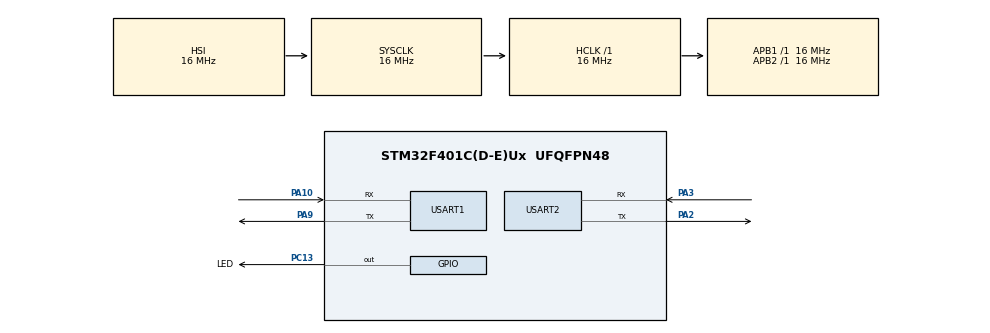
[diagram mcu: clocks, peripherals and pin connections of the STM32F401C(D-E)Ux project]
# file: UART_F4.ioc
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FREERTOS.Events01=COM6_cplt,Dynamic,NULL;COM7_cplt,Dynamic,NULL
FREERTOS.Queues01=dbg_info,128,uint8_t,0,Static,dbg_infoBuffer,dbg_infoControlBlock;slave_info,128,uint8_t,0,Static,slave_infoBuffer,slave_infoControlBlock
FREERTOS.Tasks01=dbg_UART_task,24,128,Start_dbg_UART_task,Default,NULL,Dynamic,NULL,NULL;slave_UART_task,8,128,Start_slave_UART_task,Default,NULL,Dynamic,NULL,NULL
Mcu.Family=STM32F4
Mcu.Name=STM32F401C(D-E)Ux
Mcu.Package=UFQFPN48
NVIC.PriorityGroup=NVIC_PRIORITYGROUP_4
NVIC.TIM1_UP_TIM10_IRQn=true\:15\:0\:false\:false\:true\:false\:false\:true\:true
NVIC.TimeBase=TIM1_UP_TIM10_IRQn
NVIC.TimeBaseIP=TIM1
NVIC.USART1_IRQn=true\:5\:0\:false\:false\:true\:true\:true\:true\:true
NVIC.USART2_IRQn=true\:5\:0\:false\:false\:true\:true\:true\:true\:true
PA10.Mode=Asynchronous
PA10.Signal=USART1_RX
PA13.Mode=Serial_Wire
PA13.Signal=SYS_JTMS-SWDIO
PA14.Mode=Serial_Wire
PA14.Signal=SYS_JTCK-SWCLK
PA2.Mode=Asynchronous
PA2.Signal=USART2_TX
PA3.Mode=Asynchronous
PA3.Signal=USART2_RX
PA9.Mode=Asynchronous
PA9.Signal=USART1_TX
PC13-ANTI_TAMP.GPIO_Label=LED
PC13-ANTI_TAMP.Signal=GPIO_Output
ProjectManager.HeapSize=0x200
ProjectManager.StackSize=0x400
ProjectManager.TargetToolchain=MDK-ARM V5.32
RCC.AHBFreq_Value=16000000
RCC.APB1Freq_Value=16000000
RCC.APB2Freq_Value=16000000
RCC.CortexFreq_Value=16000000
RCC.HSE_VALUE=25000000
RCC.HSI_VALUE=16000000
RCC.LSE_VALUE=32768
RCC.SYSCLKFreq_VALUE=16000000
RCC.VCOOutputFreq_Value=192000000
USART1.VirtualMode=VM_ASYNC
USART2.VirtualMode=VM_ASYNC
VP_FREERTOS_VS_CMSIS_V2.Mode=CMSIS_V2
VP_SYS_VS_tim1.Mode=TIM1
board=custom

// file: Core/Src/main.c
/* USER CODE BEGIN Header */
/**
  ******************************************************************************
  * @file           : main.c
  * @brief          : Main program body
  ******************************************************************************
  * @attention
  *
  * Copyright (c) 2022 STMicroelectronics.
  * All rights reserved.
  *
  * This software is licensed under terms that can be found in the LICENSE file
  * in the root directory of this software component.
  * If no LICENSE file comes with this software, it is provided AS-IS.
  *
  ******************************************************************************
  */
/* USER CODE END Header */
#include "main.h"
#include "cmsis_os.h"

/* USER CODE BEGIN Includes */
#include <string.h>
#include "idleuart.h"
/* USER CODE END Includes */

typedef StaticQueue_t osStaticMessageQDef_t;

 UART_HandleTypeDef huart1;
UART_HandleTypeDef huart2;

/* Definitions for dbg_UART_task */
osThreadId_t dbg_UART_taskHandle;
const osThreadAttr_t dbg_UART_task_attributes = {
  .name = "dbg_UART_task",
  .stack_size = 128 * 4,
  .priority = (osPriority_t) osPriorityNormal,
};
/* Definitions for slave_UART_task */
osThreadId_t slave_UART_taskHandle;
const osThreadAttr_t slave_UART_task_attributes = {
  .name = "slave_UART_task",
  .stack_size = 128 * 4,
  .priority = (osPriority_t) osPriorityLow,
};
/* Definitions for dbg_info */
osMessageQueueId_t dbg_infoHandle;
uint8_t dbg_infoBuffer[ 128 * sizeof( uint8_t ) ];
osStaticMessageQDef_t dbg_infoControlBlock;
const osMessageQueueAttr_t dbg_info_attributes = {
  .name = "dbg_info",
  .cb_mem = &dbg_infoControlBlock,
  .cb_size = sizeof(dbg_infoControlBlock),
  .mq_mem = &dbg_infoBuffer,
  .mq_size = sizeof(dbg_infoBuffer)
};
/* Definitions for slave_info */
osMessageQueueId_t slave_infoHandle;
uint8_t slave_infoBuffer[ 128 * sizeof( uint8_t ) ];
osStaticMessageQDef_t slave_infoControlBlock;
const osMessageQueueAttr_t slave_info_attributes = {
  .name = "slave_info",
  .cb_mem = &slave_infoControlBlock,
  .cb_size = sizeof(slave_infoControlBlock),
  .mq_mem = &slave_infoBuffer,
  .mq_size = sizeof(slave_infoBuffer)
};
/* Definitions for COM6_cplt */
osEventFlagsId_t COM6_cpltHandle;
const osEventFlagsAttr_t COM6_cplt_attributes = {
  .name = "COM6_cplt"
};
/* Definitions for COM7_cplt */
osEventFlagsId_t COM7_cpltHandle;
const osEventFlagsAttr_t COM7_cplt_attributes = {
  .name = "COM7_cplt"
};

void SystemClock_Config(void);
static void MX_GPIO_Init(void);
static void MX_USART1_UART_Init(void);
static void MX_USART2_UART_Init(void);
void Start_dbg_UART_task(void *argument);
void Start_slave_UART_task(void *argument);

/* USER CODE BEGIN 0 */
void Led_On(){
  HAL_GPIO_WritePin(LED_GPIO_Port, LED_Pin, GPIO_PIN_RESET);
}

void Led_Off(){
  HAL_GPIO_WritePin(LED_GPIO_Port, LED_Pin, GPIO_PIN_SET);
}

void Led_Toggle(){
  HAL_GPIO_TogglePin(LED_GPIO_Port, LED_Pin);
}

uint8_t Rx_buff[BUFFER_SIZE] = {0};
uint8_t Rx_buff_slave[BUFFER_SIZE] = {0};
uint8_t Tx_buff[BUFFER_SIZE] = {0};
uint16_t temp;
uint16_t temp_slave;
uint16_t temp_dbg;
uint8_t foo[3] = "Hi\n";

osStatus_t stat;

// void HAL_UART_IDLE_Callback (UART_HandleTypeDef *huart) {
//   if (huart == &COM6) {
//     Rx_buff_pt = BUFFER_SIZE - COM6.RxXferCount;              // amount of data received
//     __HAL_UART_CLEAR_IDLEFLAG(&COM6);
//     HAL_UART_Abort_IT(&COM6);
//     for (temp = 0; temp < Rx_buff_pt; temp++)
//       osMessageQueuePut(dbg_infoHandle, Rx_buff+temp, 0, 0);
//   };
//   if (huart == &COM7) {
//     Rx_buff_pt_slave = BUFFER_SIZE - COM7.RxXferCount;              // amount of data received
//     __HAL_UART_CLEAR_IDLEFLAG(&COM7);
//     HAL_UART_Abort_IT(&COM7);
//     for (temp = 0; temp < Rx_buff_pt_slave; temp++)
//       osMessageQueuePut(slave_infoHandle, Rx_buff_slave+temp, 0, 0);
//   };
// }

/* USER CODE END 0 */

int main(void)
{

  /* MCU Configuration--------------------------------------------------------*/

  /* Reset of all peripherals, Initializes the Flash interface and the Systick. */
  HAL_Init();

  /* Configure the system clock */
  SystemClock_Config();

  /* Initialize all configured peripherals */
  MX_GPIO_Init();
  MX_USART1_UART_Init();
  MX_USART2_UART_Init();

  /* Init scheduler */
  osKernelInitialize();

  /* Create the queue(s) */
  /* creation of dbg_info */
  dbg_infoHandle = osMessageQueueNew (128, sizeof(uint8_t), &dbg_info_attributes);

  /* creation of slave_info */
  slave_infoHandle = osMessageQueueNew (128, sizeof(uint8_t), &slave_info_attributes);

  /* Create the thread(s) */
  /* creation of dbg_UART_task */
  dbg_UART_taskHandle = osThreadNew(Start_dbg_UART_task, NULL, &dbg_UART_task_attributes);

  /* creation of slave_UART_task */
  slave_UART_taskHandle = osThreadNew(Start_slave_UART_task, NULL, &slave_UART_task_attributes);

  /* Create the event(s) */
  /* creation of COM6_cplt */
  COM6_cpltHandle = osEventFlagsNew(&COM6_cplt_attributes);

  /* creation of COM7_cplt */
  COM7_cpltHandle = osEventFlagsNew(&COM7_cplt_attributes);

  /* Start scheduler */
  osKernelStart();

  /* We should never get here as control is now taken by the scheduler */
  /* Infinite loop */
  while (1)
  {

  }
}

void SystemClock_Config(void)
{
  RCC_OscInitTypeDef RCC_OscInitStruct = {0};
  RCC_ClkInitTypeDef RCC_ClkInitStruct = {0};

  /** Configure the main internal regulator output voltage
  */
  __HAL_RCC_PWR_CLK_ENABLE();
  __HAL_PWR_VOLTAGESCALING_CONFIG(PWR_REGULATOR_VOLTAGE_SCALE2);

  /** Initializes the RCC Oscillators according to the specified parameters
  * in the RCC_OscInitTypeDef structure.
  */
  RCC_OscInitStruct.OscillatorType = RCC_OSCILLATORTYPE_HSI;
  RCC_OscInitStruct.HSIState = RCC_HSI_ON;
  RCC_OscInitStruct.HSICalibrationValue = RCC_HSICALIBRATION_DEFAULT;
  RCC_OscInitStruct.PLL.PLLState = RCC_PLL_NONE;
  if (HAL_RCC_OscConfig(&RCC_OscInitStruct) != HAL_OK)
  {
    Error_Handler();
  }

  /** Initializes the CPU, AHB and APB buses clocks
  */
  RCC_ClkInitStruct.ClockType = RCC_CLOCKTYPE_HCLK|RCC_CLOCKTYPE_SYSCLK
                              |RCC_CLOCKTYPE_PCLK1|RCC_CLOCKTYPE_PCLK2;
  RCC_ClkInitStruct.SYSCLKSource = RCC_SYSCLKSOURCE_HSI;
  RCC_ClkInitStruct.AHBCLKDivider = RCC_SYSCLK_DIV1;
  RCC_ClkInitStruct.APB1CLKDivider = RCC_HCLK_DIV1;
  RCC_ClkInitStruct.APB2CLKDivider = RCC_HCLK_DIV1;

  if (HAL_RCC_ClockConfig(&RCC_ClkInitStruct, FLASH_LATENCY_0) != HAL_OK)
  {
    Error_Handler();
  }
}

static void MX_USART1_UART_Init(void)
{

  huart1.Instance = USART1;
  huart1.Init.BaudRate = 115200;
  huart1.Init.WordLength = UART_WORDLENGTH_8B;
  huart1.Init.StopBits = UART_STOPBITS_1;
  huart1.Init.Parity = UART_PARITY_NONE;
  huart1.Init.Mode = UART_MODE_TX_RX;
  huart1.Init.HwFlowCtl = UART_HWCONTROL_NONE;
  huart1.Init.OverSampling = UART_OVERSAMPLING_16;
  if (HAL_UART_Init(&huart1) != HAL_OK)
  {
    Error_Handler();
  }
  /* USER CODE BEGIN USART1_Init 2 */
  __HAL_UART_ENABLE_IT(&huart1, UART_IT_RXNE);
  __HAL_UART_ENABLE_IT(&huart1, UART_IT_IDLE);
  /* USER CODE END USART1_Init 2 */

}

static void MX_USART2_UART_Init(void)
{

  huart2.Instance = USART2;
  huart2.Init.BaudRate = 115200;
  huart2.Init.WordLength = UART_WORDLENGTH_8B;
  huart2.Init.StopBits = UART_STOPBITS_1;
  huart2.Init.Parity = UART_PARITY_NONE;
  huart2.Init.Mode = UART_MODE_TX_RX;
  huart2.Init.HwFlowCtl = UART_HWCONTROL_NONE;
  huart2.Init.OverSampling = UART_OVERSAMPLING_16;
  if (HAL_UART_Init(&huart2) != HAL_OK)
  {
    Error_Handler();
  }
  /* USER CODE BEGIN USART2_Init 2 */
  __HAL_UART_ENABLE_IT(&huart2, UART_IT_RXNE);
  __HAL_UART_ENABLE_IT(&huart2, UART_IT_IDLE);
  /* USER CODE END USART2_Init 2 */

}

static void MX_GPIO_Init(void)
{
  GPIO_InitTypeDef GPIO_InitStruct = {0};

  /* GPIO Ports Clock Enable */
  __HAL_RCC_GPIOC_CLK_ENABLE();
  __HAL_RCC_GPIOA_CLK_ENABLE();

  /*Configure GPIO pin Output Level */
  HAL_GPIO_WritePin(LED_GPIO_Port, LED_Pin, GPIO_PIN_RESET);

  /*Configure GPIO pin : LED_Pin */
  GPIO_InitStruct.Pin = LED_Pin;
  GPIO_InitStruct.Mode = GPIO_MODE_OUTPUT_PP;
  GPIO_InitStruct.Pull = GPIO_NOPULL;
  GPIO_InitStruct.Speed = GPIO_SPEED_FREQ_LOW;
  HAL_GPIO_Init(LED_GPIO_Port, &GPIO_InitStruct);

}

void Start_dbg_UART_task(void *argument)
{
  /* USER CODE BEGIN 5 */
  uint8_t Tx_pt = 0;
  uint16_t temp_dbg;
  /* Infinite loop */
  for(;;)
  {
    Tx_pt = osMessageQueueGetCount(slave_infoHandle);

    if (Tx_pt > 0) {
      for (temp_dbg = 0; temp_dbg < Tx_pt; temp_dbg++)
        osMessageQueueGet(slave_infoHandle, Tx_buff+temp_dbg, 0, 0);
      osMessageQueueReset(slave_infoHandle);
      HAL_UART_Transmit_IT(&COM6, Tx_buff, Tx_pt);
    }
    else
      HAL_UART_Receive_IT(&COM6, Rx_buff, 128);
  }
  /* USER CODE END 5 */
}

void Start_slave_UART_task(void *argument)
{
  /* USER CODE BEGIN Start_slave_UART_task */
  uint8_t rn[2] = "\r\n";
  uint8_t pt = 0;
  uint8_t in_command[128] = {0};
  uint16_t temp_slave = 0;

  /* Infinite loop */
  for(;;)
  {
    pt = osMessageQueueGetCount(dbg_infoHandle);
    if (pt > 0) {
      for (temp_slave = 0; temp_slave < pt; temp_slave++)
        osMessageQueueGet(dbg_infoHandle, in_command+temp_slave, 0, 0);
      osMessageQueueReset(dbg_infoHandle);
      HAL_UART_Transmit_IT(&COM7, in_command, pt);
    }
    else {
      HAL_UART_Receive_IT(&COM7, Rx_buff_slave, 128);
    };
  }
  /* USER CODE END Start_slave_UART_task */
}

void HAL_TIM_PeriodElapsedCallback(TIM_HandleTypeDef *htim)
{
  if (htim->Instance == TIM1) {
    HAL_IncTick();
  }
}

void Error_Handler(void)
{
  __disable_irq();
  while (1)
  {
  }
}
